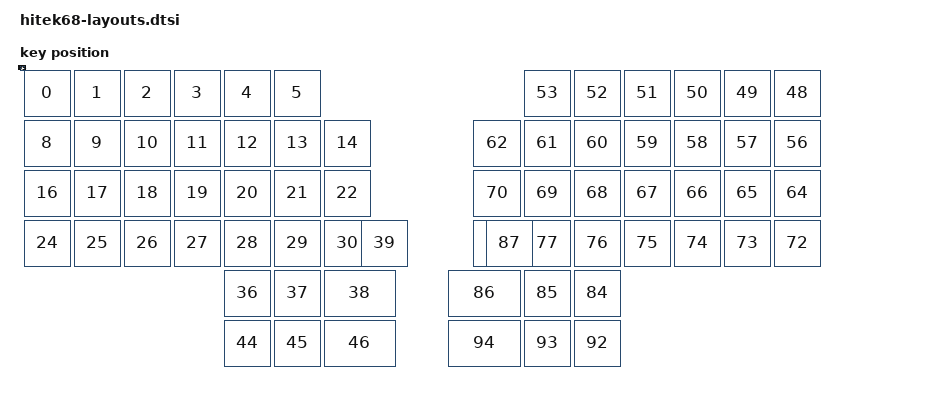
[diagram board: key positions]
// Physical layout for ZMK Studio support.
// Key order matches the keymap bindings / matrix transform (96 positions).
// Unpopulated matrix positions are zero-size.

#include <physical_layouts.dtsi>

/ {
    default_layout: default_layout {
        compatible = "zmk,physical-layout";
        display-name = "Hitek68";
        transform = <&default_transform>;
        // kscan comes from the chosen node (varies per build).

        keys  //                      w    h    x     y     rot   rx    ry
            = <&key_physical_attrs 100 100    0    0     0    0    0>  /* pos 0 */
            , <&key_physical_attrs 100 100  100    0     0    0    0>  /* pos 1 */
            , <&key_physical_attrs 100 100  200    0     0    0    0>  /* pos 2 */
            , <&key_physical_attrs 100 100  300    0     0    0    0>  /* pos 3 */
            , <&key_physical_attrs 100 100  400    0     0    0    0>  /* pos 4 */
            , <&key_physical_attrs 100 100  500    0     0    0    0>  /* pos 5 */
            , <&key_physical_attrs   0   0    0    0     0    0    0>
            , <&key_physical_attrs   0   0    0    0     0    0    0>
            , <&key_physical_attrs 100 100    0  100     0    0    0>  /* pos 8 */
            , <&key_physical_attrs 100 100  100  100     0    0    0>  /* pos 9 */
            , <&key_physical_attrs 100 100  200  100     0    0    0>  /* pos 10 */
            , <&key_physical_attrs 100 100  300  100     0    0    0>  /* pos 11 */
            , <&key_physical_attrs 100 100  400  100     0    0    0>  /* pos 12 */
            , <&key_physical_attrs 100 100  500  100     0    0    0>  /* pos 13 */
            , <&key_physical_attrs 100 100  600  100     0    0    0>  /* pos 14 */
            , <&key_physical_attrs   0   0    0    0     0    0    0>
            , <&key_physical_attrs 100 100    0  200     0    0    0>  /* pos 16 */
            , <&key_physical_attrs 100 100  100  200     0    0    0>  /* pos 17 */
            , <&key_physical_attrs 100 100  200  200     0    0    0>  /* pos 18 */
            , <&key_physical_attrs 100 100  300  200     0    0    0>  /* pos 19 */
            , <&key_physical_attrs 100 100  400  200     0    0    0>  /* pos 20 */
            , <&key_physical_attrs 100 100  500  200     0    0    0>  /* pos 21 */
            , <&key_physical_attrs 100 100  600  200     0    0    0>  /* pos 22 */
            , <&key_physical_attrs   0   0    0    0     0    0    0>
            , <&key_physical_attrs 100 100    0  300     0    0    0>  /* pos 24 */
            , <&key_physical_attrs 100 100  100  300     0    0    0>  /* pos 25 */
            , <&key_physical_attrs 100 100  200  300     0    0    0>  /* pos 26 */
            , <&key_physical_attrs 100 100  300  300     0    0    0>  /* pos 27 */
            , <&key_physical_attrs 100 100  400  300     0    0    0>  /* pos 28 */
            , <&key_physical_attrs 100 100  500  300     0    0    0>  /* pos 29 */
            , <&key_physical_attrs 100 100  600  300     0    0    0>  /* pos 30 */
            , <&key_physical_attrs   0   0    0    0     0    0    0>
            , <&key_physical_attrs   0   0    0    0     0    0    0>
            , <&key_physical_attrs   0   0    0    0     0    0    0>
            , <&key_physical_attrs   0   0    0    0     0    0    0>
            , <&key_physical_attrs   0   0    0    0     0    0    0>
            , <&key_physical_attrs 100 100  400  400     0    0    0>  /* pos 36 */
            , <&key_physical_attrs 100 100  500  400     0    0    0>  /* pos 37 */
            , <&key_physical_attrs 150 100  600  400     0    0    0>  /* pos 38 */
            , <&key_physical_attrs 100 100  675  300     0    0    0>  /* pos 39 */
            , <&key_physical_attrs   0   0    0    0     0    0    0>
            , <&key_physical_attrs   0   0    0    0     0    0    0>
            , <&key_physical_attrs   0   0    0    0     0    0    0>
            , <&key_physical_attrs   0   0    0    0     0    0    0>
            , <&key_physical_attrs 100 100  400  500     0    0    0>  /* pos 44 */
            , <&key_physical_attrs 100 100  500  500     0    0    0>  /* pos 45 */
            , <&key_physical_attrs 150 100  600  500     0    0    0>  /* pos 46 */
            , <&key_physical_attrs   0   0    0    0     0    0    0>
            , <&key_physical_attrs 100 100 1500    0     0    0    0>  /* pos 48 */
            , <&key_physical_attrs 100 100 1400    0     0    0    0>  /* pos 49 */
            , <&key_physical_attrs 100 100 1300    0     0    0    0>  /* pos 50 */
            , <&key_physical_attrs 100 100 1200    0     0    0    0>  /* pos 51 */
            , <&key_physical_attrs 100 100 1100    0     0    0    0>  /* pos 52 */
            , <&key_physical_attrs 100 100 1000    0     0    0    0>  /* pos 53 */
            , <&key_physical_attrs   0   0    0    0     0    0    0>
            , <&key_physical_attrs   0   0    0    0     0    0    0>
            , <&key_physical_attrs 100 100 1500  100     0    0    0>  /* pos 56 */
            , <&key_physical_attrs 100 100 1400  100     0    0    0>  /* pos 57 */
            , <&key_physical_attrs 100 100 1300  100     0    0    0>  /* pos 58 */
            , <&key_physical_attrs 100 100 1200  100     0    0    0>  /* pos 59 */
            , <&key_physical_attrs 100 100 1100  100     0    0    0>  /* pos 60 */
            , <&key_physical_attrs 100 100 1000  100     0    0    0>  /* pos 61 */
            , <&key_physical_attrs 100 100  900  100     0    0    0>  /* pos 62 */
            , <&key_physical_attrs   0   0    0    0     0    0    0>
            , <&key_physical_attrs 100 100 1500  200     0    0    0>  /* pos 64 */
            , <&key_physical_attrs 100 100 1400  200     0    0    0>  /* pos 65 */
            , <&key_physical_attrs 100 100 1300  200     0    0    0>  /* pos 66 */
            , <&key_physical_attrs 100 100 1200  200     0    0    0>  /* pos 67 */
            , <&key_physical_attrs 100 100 1100  200     0    0    0>  /* pos 68 */
            , <&key_physical_attrs 100 100 1000  200     0    0    0>  /* pos 69 */
            , <&key_physical_attrs 100 100  900  200     0    0    0>  /* pos 70 */
            , <&key_physical_attrs   0   0    0    0     0    0    0>
            , <&key_physical_attrs 100 100 1500  300     0    0    0>  /* pos 72 */
            , <&key_physical_attrs 100 100 1400  300     0    0    0>  /* pos 73 */
            , <&key_physical_attrs 100 100 1300  300     0    0    0>  /* pos 74 */
            , <&key_physical_attrs 100 100 1200  300     0    0    0>  /* pos 75 */
            , <&key_physical_attrs 100 100 1100  300     0    0    0>  /* pos 76 */
            , <&key_physical_attrs 100 100 1000  300     0    0    0>  /* pos 77 */
            , <&key_physical_attrs 100 100  900  300     0    0    0>  /* pos 78 */
            , <&key_physical_attrs   0   0    0    0     0    0    0>
            , <&key_physical_attrs   0   0    0    0     0    0    0>
            , <&key_physical_attrs   0   0    0    0     0    0    0>
            , <&key_physical_attrs   0   0    0    0     0    0    0>
            , <&key_physical_attrs   0   0    0    0     0    0    0>
            , <&key_physical_attrs 100 100 1100  400     0    0    0>  /* pos 84 */
            , <&key_physical_attrs 100 100 1000  400     0    0    0>  /* pos 85 */
            , <&key_physical_attrs 150 100  850  400     0    0    0>  /* pos 86 */
            , <&key_physical_attrs 100 100  925  300     0    0    0>  /* pos 87 */
            , <&key_physical_attrs   0   0    0    0     0    0    0>
            , <&key_physical_attrs   0   0    0    0     0    0    0>
            , <&key_physical_attrs   0   0    0    0     0    0    0>
            , <&key_physical_attrs   0   0    0    0     0    0    0>
            , <&key_physical_attrs 100 100 1100  500     0    0    0>  /* pos 92 */
            , <&key_physical_attrs 100 100 1000  500     0    0    0>  /* pos 93 */
            , <&key_physical_attrs 150 100  850  500     0    0    0>  /* pos 94 */
            , <&key_physical_attrs   0   0    0    0     0    0    0>;
    };
};
